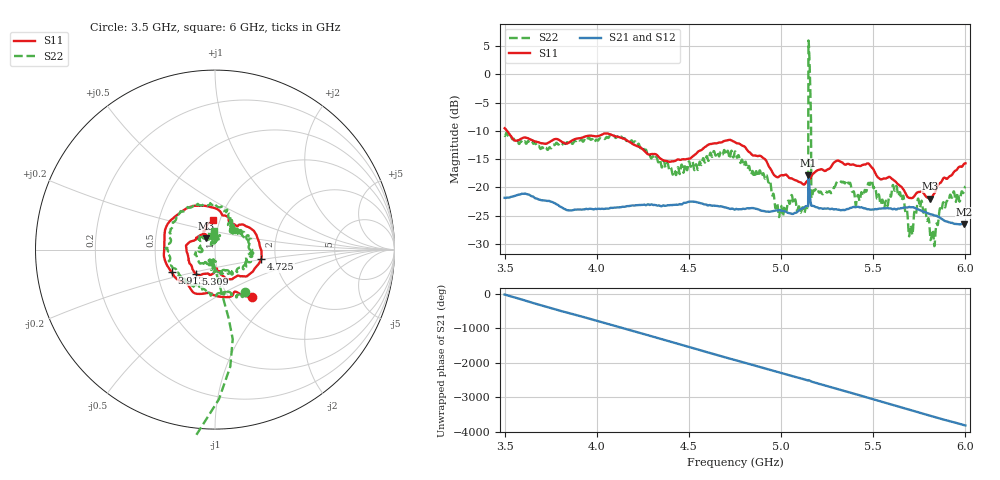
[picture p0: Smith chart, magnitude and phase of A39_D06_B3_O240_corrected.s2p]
! Created with skrf 1.9.0 (http://scikit-rf.org).
# Hz S RI R 50.0
!freq ReS11 ImS11 ReS21 ImS21 ReS12 ImS12 ReS22 ImS22
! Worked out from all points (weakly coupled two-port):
!   1601 points, 3.5 GHz to 6 GHz, reference 50 ohm
!   highest |S21| = -17.79 dB at 5.148 GHz (marker M1); lowest = -26.6 dB at 5.992 GHz (marker M2)
!   lowest |S11| = -22.0 dB at 5.808 GHz (marker M3), VSWR 1.17, Z = 44.9 + j5.61 ohm
!   |S11| at or under -10 dB: 3.513 GHz to end of sweep
!   |S22| runs from -30.4 to 6.0 dB; largest |S21 - S12| = 0.001
!   S11 on the Smith chart (normalised r, x): 3.5 GHz: 1.26, -0.75; 3.913 GHz: 0.59, -0.16; 4.725 GHz: 1.68, -0.19; 5.309 GHz: 0.78, -0.22; 6 GHz: 0.93, +0.31
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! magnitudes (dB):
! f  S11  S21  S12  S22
! 3.5 GHz  -9.5  -21.9  -21.8  -10.9
! 3.913 GHz  -11.3  -23.9  -23.9  -11.6
! 3.917 GHz  -11.2  -23.9  -23.9  -11.6
! 4.334 GHz  -14.6  -23.2  -23.1  -15.6
! 4.725 GHz  -11.6  -23.8  -23.7  -14.5
! 4.75 GHz  -12.0  -23.9  -23.8  -13.7
! 4.93 GHz  -16.0  -24.3  -24.2  -19.0
! 4.981 GHz  -18.2  -24.1  -24.1  -23.1
! 5.117 GHz  -19.4  -23.7  -23.6  -23.6
! 5.134 GHz  -19.2  -23.3  -23.3  -23.7
! 5.148 GHz  -18.7  -17.8  -17.8  6.0
! 5.161 GHz  -18.3  -22.8  -22.7  -5.9
! 5.167 GHz  -17.9  -23.3  -23.2  -21.7
! 5.177 GHz  -17.5  -23.3  -23.3  -20.5
! 5.309 GHz  -15.3  -24.0  -23.9  -18.9
! 5.584 GHz  -18.2  -23.7  -23.7  -21.8
! 5.655 GHz  -20.0  -23.7  -23.6  -22.3
! 5.703 GHz  -21.9  -23.5  -23.5  -26.7
! 5.753 GHz  -20.8  -24.0  -24.0  -23.6
! 5.808 GHz  -22.0  -24.7  -24.7  -28.0
! 5.992 GHz  -15.9  -26.6  -26.5  -20.7
! 6 GHz  -15.7  -26.6  -26.5  -19.8
